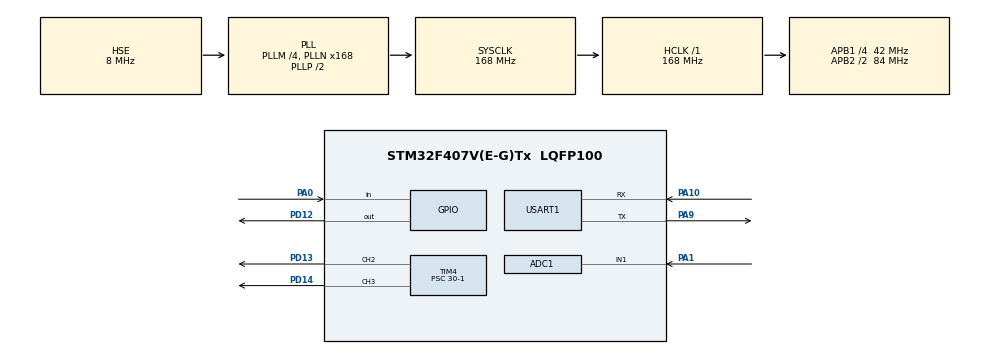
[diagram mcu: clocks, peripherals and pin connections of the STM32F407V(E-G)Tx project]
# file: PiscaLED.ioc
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ADC1.Channel-0\#ChannelRegularConversion=ADC_CHANNEL_0
ADC1.Channel-1\#ChannelRegularConversion=ADC_CHANNEL_1
ADC1.ContinuousConvMode=ENABLE
ADC1.DMAContinuousRequests=ENABLE
ADC1.ExternalTrigConv=ADC_EXTERNALTRIGCONV_T2_TRGO
ADC1.NbrOfConversion=2
ADC1.NbrOfConversionFlag=1
ADC1.Rank-0\#ChannelRegularConversion=1
ADC1.Rank-1\#ChannelRegularConversion=2
ADC1.SamplingTime-0\#ChannelRegularConversion=ADC_SAMPLETIME_480CYCLES
ADC1.SamplingTime-1\#ChannelRegularConversion=ADC_SAMPLETIME_480CYCLES
ADC1.master=1
Dma.ADC1.0.Direction=DMA_PERIPH_TO_MEMORY
Dma.ADC1.0.FIFOMode=DMA_FIFOMODE_DISABLE
Dma.ADC1.0.Instance=DMA2_Stream0
Dma.ADC1.0.MemDataAlignment=DMA_MDATAALIGN_HALFWORD
Dma.ADC1.0.MemInc=DMA_MINC_ENABLE
Dma.ADC1.0.Mode=DMA_CIRCULAR
Dma.ADC1.0.PeriphDataAlignment=DMA_PDATAALIGN_HALFWORD
Dma.ADC1.0.PeriphInc=DMA_PINC_DISABLE
Dma.ADC1.0.Priority=DMA_PRIORITY_VERY_HIGH
Dma.MEMTOMEM.1.Direction=DMA_MEMORY_TO_MEMORY
Dma.MEMTOMEM.1.FIFOMode=DMA_FIFOMODE_ENABLE
Dma.MEMTOMEM.1.FIFOThreshold=DMA_FIFO_THRESHOLD_FULL
Dma.MEMTOMEM.1.Instance=DMA2_Stream1
Dma.MEMTOMEM.1.MemBurst=DMA_MBURST_INC4
Dma.MEMTOMEM.1.MemDataAlignment=DMA_MDATAALIGN_WORD
Dma.MEMTOMEM.1.MemInc=DMA_MINC_ENABLE
Dma.MEMTOMEM.1.Mode=DMA_NORMAL
Dma.MEMTOMEM.1.PeriphBurst=DMA_PBURST_INC4
Dma.MEMTOMEM.1.PeriphDataAlignment=DMA_PDATAALIGN_WORD
Dma.MEMTOMEM.1.PeriphInc=DMA_PINC_ENABLE
Dma.MEMTOMEM.1.Priority=DMA_PRIORITY_LOW
Dma.Request0=ADC1
Dma.Request1=MEMTOMEM
Mcu.Family=STM32F4
Mcu.Name=STM32F407V(E-G)Tx
Mcu.Package=LQFP100
NVIC.DMA2_Stream0_IRQn=true\:0\:0\:false\:false\:true\:false\:true\:true
NVIC.PriorityGroup=NVIC_PRIORITYGROUP_4
PA0-WKUP.Signal=GPIO_Input
PA1.Signal=ADCx_IN1
PA10.Mode=Asynchronous
PA10.Signal=USART1_RX
PA13.Mode=Trace_Asynchronous_SW
PA13.Signal=SYS_JTMS-SWDIO
PA14.Mode=Trace_Asynchronous_SW
PA14.Signal=SYS_JTCK-SWCLK
PA9.Mode=Asynchronous
PA9.Signal=USART1_TX
PB3.Mode=Trace_Asynchronous_SW
PB3.Signal=SYS_JTDO-SWO
PD12.Signal=GPIO_Output
PD13.Signal=S_TIM4_CH2
PD14.Signal=S_TIM4_CH3
PD15.Signal=S_TIM4_CH4
PH0-OSC_IN.Mode=HSE-External-Oscillator
PH0-OSC_IN.Signal=RCC_OSC_IN
PH1-OSC_OUT.Mode=HSE-External-Oscillator
PH1-OSC_OUT.Signal=RCC_OSC_OUT
ProjectManager.HeapSize=0x200
ProjectManager.StackSize=0x400
ProjectManager.TargetToolchain=Other Toolchains (GPDSC)
RCC.48MHZClocksFreq_Value=48000000
RCC.AHBFreq_Value=168000000
RCC.APB1CLKDivider=RCC_HCLK_DIV4
RCC.APB1Freq_Value=42000000
RCC.APB1TimFreq_Value=84000000
RCC.APB2CLKDivider=RCC_HCLK_DIV2
RCC.APB2Freq_Value=84000000
RCC.APB2TimFreq_Value=168000000
RCC.CortexFreq_Value=168000000
RCC.HCLKFreq_Value=168000000
RCC.HSE_VALUE=8000000
RCC.HSI_VALUE=16000000
RCC.LSE_VALUE=32768
RCC.PLLM=4
RCC.PLLN=168
RCC.PLLQ=7
RCC.PLLSourceVirtual=RCC_PLLSOURCE_HSE
RCC.SYSCLKFreq_VALUE=168000000
RCC.SYSCLKSource=RCC_SYSCLKSOURCE_PLLCLK
RCC.VCOOutputFreq_Value=336000000
SH.ADCx_IN1.0=ADC1_IN1,IN1
SH.S_TIM4_CH2.0=TIM4_CH2,PWM Generation2 CH2
SH.S_TIM4_CH3.0=TIM4_CH3,PWM Generation3 CH3
SH.S_TIM4_CH4.0=TIM4_CH4
TIM4.Channel-PWM\ Generation2\ CH2=TIM_CHANNEL_2
TIM4.Channel-PWM\ Generation3\ CH3=TIM_CHANNEL_3
TIM4.Period=60000-1
TIM4.Prescaler=30-1
TIM4.Pulse-PWM\ Generation2\ CH2=30000-1
TIM4.Pulse-PWM\ Generation3\ CH3=30000-1
USART1.VirtualMode=VM_ASYNC
board=custom

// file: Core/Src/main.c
/* USER CODE BEGIN Header */
/**
  ******************************************************************************
  * @file           : main.c
  * @brief          : Main program body
  ******************************************************************************
  * @attention
  *
  * Copyright (c) 2023 STMicroelectronics.
  * All rights reserved.
  *
  * This software is licensed under terms that can be found in the LICENSE file
  * in the root directory of this software component.
  * If no LICENSE file comes with this software, it is provided AS-IS.
  *
  ******************************************************************************
  */
/* USER CODE END Header */
#include "main.h"
#include "adc.h"
#include "dma.h"
#include "tim.h"
#include "usart.h"
#include "gpio.h"

/* USER CODE BEGIN PD */
#define center 2048;
/* USER CODE END PD */

/* USER CODE BEGIN PV */
uint16_t buffer[2] = {0};
int16_t xy[2] = { 0 };
int32_t LED[4] = { 0 };
uint16_t aux = 0;
uint8_t counter = 0;
uint8_t press_the_fuckingbutton = 0;
enum
{
	W = 0, N, E, S
};

enum
{
	waiting = 0,
	detect,
	button_press,
};

enum
{
	off = 0,
	twohz,
	fourhz,
	on,
};

int state = off;
int button = waiting;

uint8_t sinal_bot_pressionado = 0;

/* USER CODE END PV */

void SystemClock_Config(void);

int main(void)
{

  /* MCU Configuration--------------------------------------------------------*/

  /* Reset of all peripherals, Initializes the Flash interface and the Systick. */
  HAL_Init();

  /* Configure the system clock */
  SystemClock_Config();

  /* Initialize all configured peripherals */
  MX_GPIO_Init();
  MX_DMA_Init();
  MX_USART1_UART_Init();
  MX_ADC1_Init();
  MX_TIM4_Init();
  /* USER CODE BEGIN 2 */

// HAL_TIM_Base_Start(&htim2);
//HAL_TIM_PWM_Start(&htim4, TIM_CHANNEL_2);
//HAL_TIM_PWM_Start(&htim4, TIM_CHANNEL_3);
//HAL_TIM_PWM_Start(&htim4, TIM_CHANNEL_4);
//HAL_ADC_Start_DMA(&hadc1, (uint32_t *) buffer, 2);
//HAL_DMA_Start(&hdma_memtomem_dma2_stream1, (uint32_t)LED, (uint32_t)&(htim4.Instance->CCR1), 4);

  /* USER CODE END 2 */

  /* Infinite loop */
  while (1)
  {
	  if (HAL_GPIO_ReadPin(GPIOA, GPIO_PIN_0) == GPIO_PIN_RESET)
	  {
		  counter++;
	  }

  }
}

void SystemClock_Config(void)
{
  RCC_OscInitTypeDef RCC_OscInitStruct = {0};
  RCC_ClkInitTypeDef RCC_ClkInitStruct = {0};

  /** Configure the main internal regulator output voltage
  */
  __HAL_RCC_PWR_CLK_ENABLE();
  __HAL_PWR_VOLTAGESCALING_CONFIG(PWR_REGULATOR_VOLTAGE_SCALE1);

  /** Initializes the RCC Oscillators according to the specified parameters
  * in the RCC_OscInitTypeDef structure.
  */
  RCC_OscInitStruct.OscillatorType = RCC_OSCILLATORTYPE_HSE;
  RCC_OscInitStruct.HSEState = RCC_HSE_ON;
  RCC_OscInitStruct.PLL.PLLState = RCC_PLL_ON;
  RCC_OscInitStruct.PLL.PLLSource = RCC_PLLSOURCE_HSE;
  RCC_OscInitStruct.PLL.PLLM = 4;
  RCC_OscInitStruct.PLL.PLLN = 168;
  RCC_OscInitStruct.PLL.PLLP = RCC_PLLP_DIV2;
  RCC_OscInitStruct.PLL.PLLQ = 7;
  if (HAL_RCC_OscConfig(&RCC_OscInitStruct) != HAL_OK)
  {
    Error_Handler();
  }

  /** Initializes the CPU, AHB and APB buses clocks
  */
  RCC_ClkInitStruct.ClockType = RCC_CLOCKTYPE_HCLK|RCC_CLOCKTYPE_SYSCLK
                              |RCC_CLOCKTYPE_PCLK1|RCC_CLOCKTYPE_PCLK2;
  RCC_ClkInitStruct.SYSCLKSource = RCC_SYSCLKSOURCE_PLLCLK;
  RCC_ClkInitStruct.AHBCLKDivider = RCC_SYSCLK_DIV1;
  RCC_ClkInitStruct.APB1CLKDivider = RCC_HCLK_DIV4;
  RCC_ClkInitStruct.APB2CLKDivider = RCC_HCLK_DIV2;

  if (HAL_RCC_ClockConfig(&RCC_ClkInitStruct, FLASH_LATENCY_5) != HAL_OK)
  {
    Error_Handler();
  }
}

/* USER CODE BEGIN 4 */

void HAL_ADC_ConvCpltCallback(ADC_HandleTypeDef* hadc) {

	uint8_t i;
	for (i = 0; i < 2; i++)
	{
		xy[i] = buffer[i] - center;

	}
	//state = HAL_OK;
	return;
}

/* USER CODE END 4 */

void Error_Handler(void)
{
  __disable_irq();
  while (1)
  {
  }
}
